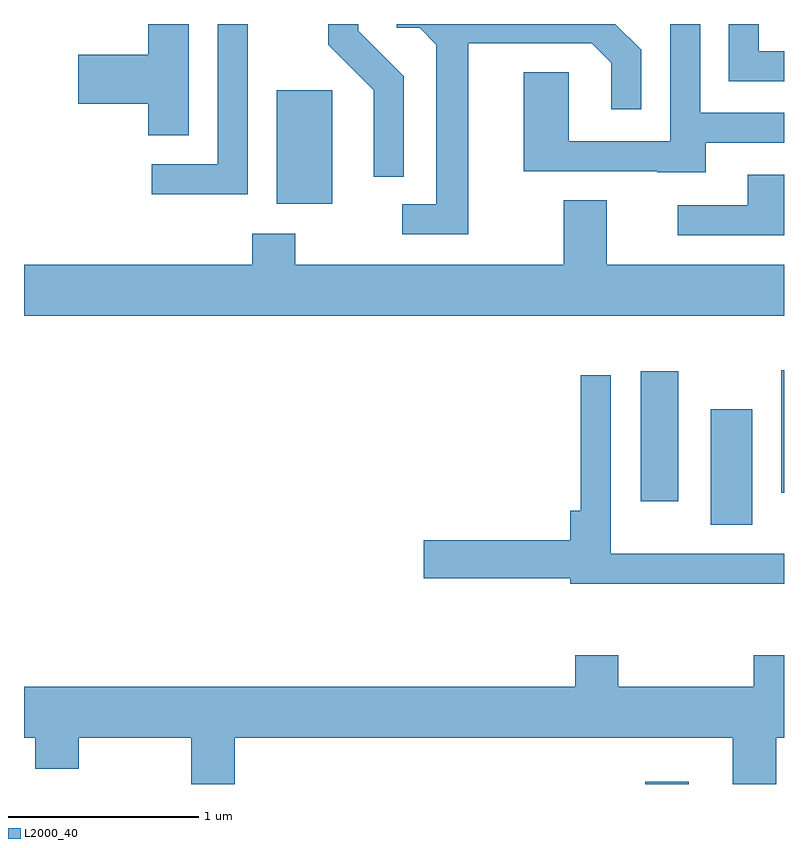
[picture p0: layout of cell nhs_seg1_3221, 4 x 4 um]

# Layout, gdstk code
import gdstk
lib = gdstk.Library(unit=1e-6, precision=1e-09)
def R(c, l, rs):  # rectangles x0, y0, x1, y1
    for r in rs: c.add(gdstk.rectangle(r[:2], r[2:], *l))
def P(c, l, *ps):  # polygons
    for p in ps: c.add(gdstk.Polygon(p, *l))
L2000_40 = (2000, 40)

nhs_seg1_3221 = lib.new_cell('nhs_seg1_3221')
R(nhs_seg1_3221, L2000_40, [(284.881,963.712,285.109,963.724), (285.226,965.076,285.444,965.684), (284.856,965.201,285.054,965.884), (285.596,965.246,285.611,965.889), (282.941,966.766,283.234,967.364)])
P(nhs_seg1_3221, L2000_40, [(285.199,967.086),(285.611,967.086),(285.611,967.244),(285.169,967.244),(285.169,967.712),(285.011,967.712),(285.011,967.094),(284.479,967.094),(284.479,967.459),(284.241,967.459),(284.241,966.936),(284.945,966.936),(284.945,966.931),(285.199,966.931)],
  [(282.479,967.712),(282.266,967.712),(282.266,967.549),(281.896,967.549),(281.896,967.291),(282.266,967.291),(282.266,967.126),(282.479,967.126)],
  [(282.789,967.712),(282.631,967.712),(282.631,966.974),(282.283,966.974),(282.283,966.816),(282.789,966.816)],
  [(283.609,967.437),(283.369,967.677),(283.369,967.712),(283.211,967.712),(283.211,967.604),(283.451,967.364),(283.451,966.908),(283.609,966.908)],
  [(285.611,967.569),(285.479,967.569),(285.479,967.712),(285.321,967.712),(285.321,967.411),(285.611,967.411)],
  [(283.949,967.611),(284.599,967.611),(284.701,967.509),(284.701,967.263),(284.859,967.263),(284.859,967.577),(284.724,967.712),(283.573,967.712),(283.573,967.691),(283.694,967.691),(283.781,967.604),(283.781,966.764),(283.603,966.764),(283.603,966.606),(283.949,966.606)],
  [(285.611,966.919),(285.421,966.919),(285.421,966.759),(285.053,966.759),(285.053,966.601),(285.611,966.601)],
  [(285.611,966.444),(284.679,966.444),(284.679,966.784),(284.451,966.784),(284.451,966.444),(283.039,966.444),(283.039,966.609),(282.811,966.609),(282.811,966.444),(281.611,966.444),(281.611,966.176),(285.611,966.176)],
  [(285.611,964.924),(284.699,964.924),(284.699,965.863),(284.541,965.863),(284.541,965.149),(284.486,965.149),(284.486,964.994),(283.716,964.994),(283.716,964.796),(284.486,964.796),(284.486,964.766),(285.611,964.766)],
  [(282.719,963.956),(285.341,963.956),(285.341,963.712),(285.569,963.712),(285.569,963.956),(285.611,963.956),(285.611,964.389),(285.451,964.389),(285.451,964.224),(284.739,964.224),(284.739,964.389),(284.511,964.389),(284.511,964.224),(281.611,964.224),(281.611,963.956),(281.671,963.956),(281.671,963.791),(281.899,963.791),(281.899,963.956),(282.491,963.956),(282.491,963.712),(282.719,963.712)])

lib.write_gds('nhs_seg1_3221.gds')
